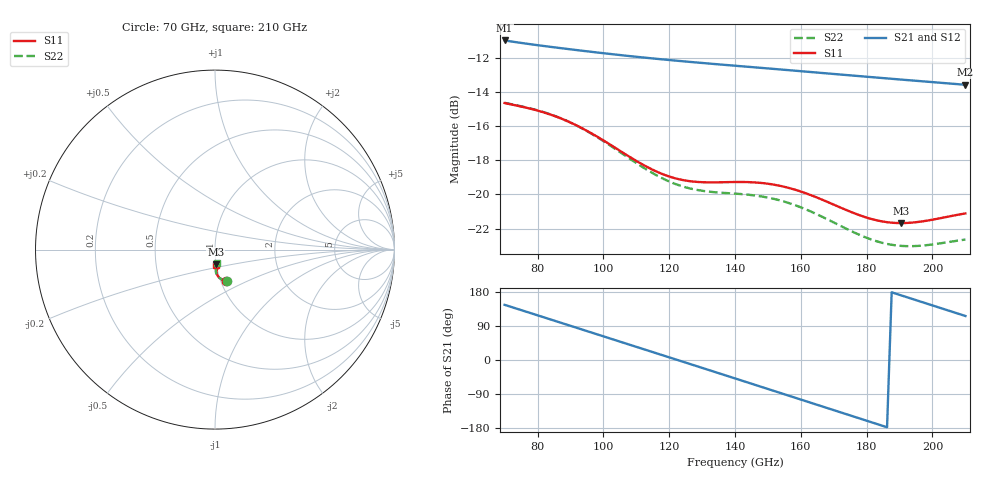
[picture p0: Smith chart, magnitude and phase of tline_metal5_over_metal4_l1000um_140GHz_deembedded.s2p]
! Created with skrf 2.0.1 (http://scikit-rf.org).
# GHz S DB R 50.0
!freq dBS11 angS11 dBS21 angS21 dBS12 angS12 dBS22 angS22
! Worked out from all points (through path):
!   101 points, 70 GHz to 210 GHz, reference 50 ohm
!   highest |S21| = -10.97 dB at 70 GHz (marker M1); lowest = -13.6 dB at 210 GHz (marker M2)
!   group delay of S21, straight-line fit = 7.73 ps
!   lowest |S11| = -21.7 dB at 190.4 GHz (marker M3), VSWR 1.18, Z = 49.7 - j8.24 ohm
!   |S11| at or under -10 dB: start of sweep to end of sweep
!   |S22| runs from -23.0 to -14.6 dB; largest |S21 - S12| = 2.5e-13
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70  -14.64 -70.1  -10.97 145.6  -10.97 145.6  -14.63 -69.5
77  -14.93 -72.8  -11.17 126.3  -11.17 126.3  -14.92 -72.4
82.6  -15.23 -75.7  -11.31 110.8  -11.31 110.8  -15.22 -75.5
88.2  -15.63 -78.9  -11.45 95.2  -11.45 95.2  -15.63 -79.0
93.8  -16.14 -81.9  -11.58 79.7  -11.58 79.7  -16.15 -82.3
99.4  -16.76 -84.4  -11.70 64.2  -11.70 64.2  -16.80 -85.1
106.4  -17.61 -86.2  -11.85 44.7  -11.85 44.7  -17.69 -87.4
112  -18.25 -86.3  -11.97 29.2  -11.97 29.2  -18.41 -87.9
117.6  -18.78 -85.4  -12.07 13.7  -12.07 13.7  -19.02 -87.4
123.2  -19.12 -84.1  -12.17 -1.9  -12.17 -1.9  -19.48 -86.3
128.8  -19.27 -83.0  -12.27 -17.4  -12.27 -17.4  -19.75 -85.2
140  -19.27 -83.2  -12.45 -48.6  -12.45 -48.6  -19.95 -85.1
147  -19.31 -85.2  -12.56 -68.1  -12.56 -68.1  -20.09 -86.7
152.6  -19.45 -87.3  -12.65 -83.7  -12.65 -83.7  -20.30 -88.6
158.2  -19.72 -89.4  -12.74 -99.4  -12.74 -99.4  -20.63 -90.5
163.8  -20.10 -91.1  -12.83 -115.0  -12.83 -115.0  -21.07 -92.0
176.4  -21.11 -91.7  -13.04 -150.1  -13.04 -150.1  -22.25 -92.1
182  -21.47 -90.4  -13.13 -165.8  -13.13 -165.8  -22.68 -90.5
187.6  -21.66 -88.5  -13.22 178.6  -13.22 178.6  -22.95 -88.2
190.4  -21.68 -87.5  -13.26 170.8  -13.26 170.8  -23.02 -87.0
200.2  -21.47 -85.3  -13.42 143.5  -13.42 143.5  -22.93 -83.7
210  -21.11 -85.9  -13.57 116.1  -13.57 116.1  -22.64 -83.0
